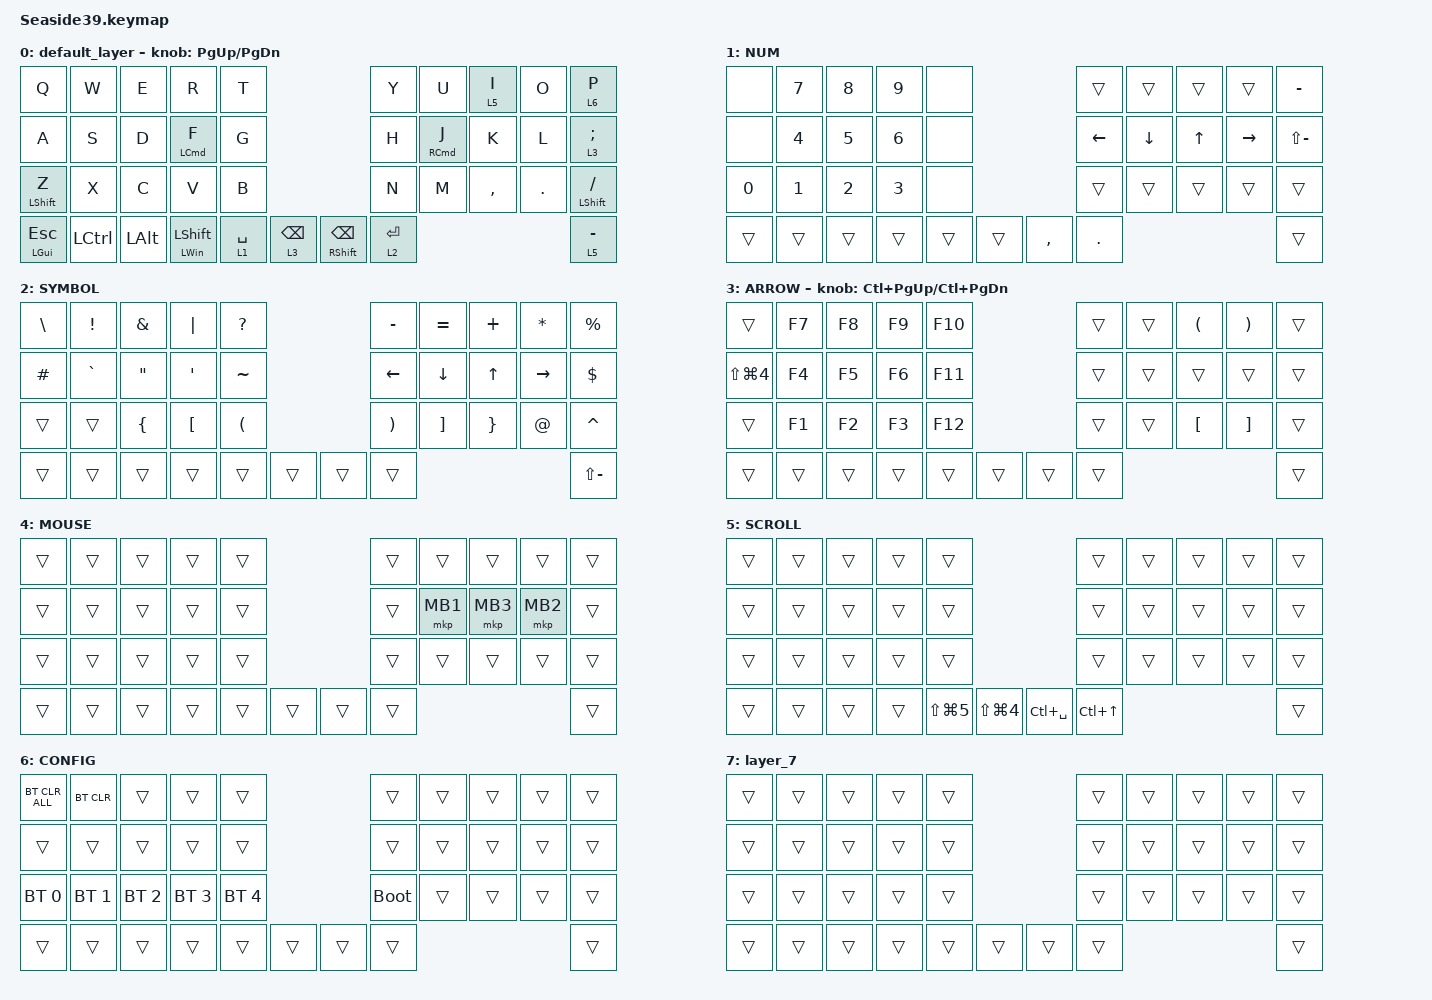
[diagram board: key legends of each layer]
#include <behaviors.dtsi>
#include <dt-bindings/zmk/bt.h>
#include <dt-bindings/zmk/keys.h>
#include <dt-bindings/zmk/pointing.h>

#define MOUSE 4
#define SCROLL 5
#define NUM 6

&mt {
    flavor = "balanced";
    quick-tap-ms = <300>;
};

&lt {
    flavor = "balanced";
    quick-tap-ms = <300>;
};

/ {
    combos {
        compatible = "zmk,combos";

        lang2 {
            bindings = <&kp LANG2>;
            key-positions = <13 14>;
            layers = <0>;
        };

        lang1 {
            bindings = <&kp LANG1>;
            key-positions = <15 16>;
            layers = <0>;
        };

        tab {
            bindings = <&kp TAB>;
            key-positions = <10 11>;
            layers = <0>;
        };
    };

    macros {
        to_layer_0: to_layer_0 {
            compatible = "zmk,behavior-macro-one-param";
            #binding-cells = <1>;
            bindings = <&to 0 &macro_param_1to1 &kp MACRO_PLACEHOLDER>;
            label = "TO_LAYER_0";
        };
    };

    behaviors {
        lt_to_layer_0: lt_to_layer_0 {
            compatible = "zmk,behavior-hold-tap";
            label = "LAYER_TAP_TO_0";
            bindings = <&mo>, <&to_layer_0>;

            #binding-cells = <2>;
            tapping-term-ms = <200>;
        };
    };

    keymap {
        compatible = "zmk,keymap";

        default_layer {
            bindings = <
&kp Q                &kp W      &kp E         &kp R                    &kp T                                                        &kp Y        &kp U       &lt 5 I    &kp O    &lt 6 P
&kp A                &kp S      &kp D         &mt LCMD F               &kp G                                                        &kp H        &mt RCMD J  &kp K      &kp L    &lt 3 SEMICOLON
&mt LEFT_SHIFT Z     &kp X      &kp C         &kp V                    &kp B                                                        &kp N        &kp M       &kp COMMA  &kp DOT  &mt LEFT_SHIFT SLASH
&mt LEFT_GUI ESCAPE  &kp LCTRL  &kp LEFT_ALT  &mt LEFT_WIN LEFT_SHIFT  &lt 1 SPACE  &lt 3 BACKSPACE      &mt RIGHT_SHIFT BACKSPACE  &lt 2 ENTER                                  &lt 5 MINUS
            >;

            sensor-bindings = <&inc_dec_kp PG_UP PAGE_DOWN>;
        };

        NUM {
            bindings = <
&none   &kp N7        &kp NUMBER_8  &kp NUMBER_9  &none                          &trans      &trans    &trans  &trans     &kp MINUS
&none   &kp NUMBER_4  &kp N5        &kp NUMBER_6  &none                          &kp LEFT    &kp DOWN  &kp UP  &kp RIGHT  &kp LS(MINUS)
&kp N0  &kp NUMBER_1  &kp NUMBER_2  &kp NUMBER_3  &none                          &trans      &trans    &trans  &trans     &trans
&trans  &trans        &trans        &trans        &trans  &trans      &kp COMMA  &kp PERIOD                               &trans
            >;
        };

        SYMBOL {
            bindings = <
&kp BACKSLASH  &kp EXCLAMATION  &kp AMPERSAND      &kp PIPE          &kp QUESTION                              &kp MINUS              &kp EQUAL          &kp PLUS         &kp ASTERISK  &kp PERCENT
&kp HASH       &kp GRAVE        &kp DOUBLE_QUOTES  &kp SQT           &kp TILDE                                 &kp LEFT               &kp DOWN           &kp UP           &kp RIGHT     &kp DOLLAR
&trans         &trans           &kp LEFT_BRACE     &kp LEFT_BRACKET  &kp LEFT_PARENTHESIS                      &kp RIGHT_PARENTHESIS  &kp RIGHT_BRACKET  &kp RIGHT_BRACE  &kp AT        &kp CARET
&trans         &trans           &trans             &trans            &trans                &trans      &trans  &trans                                                                   &kp LS(MINUS)
            >;
        };

        ARROW {
            bindings = <
&trans                &kp F7  &kp F8  &kp F9  &kp F10                      &trans  &trans  &kp LEFT_PARENTHESIS  &kp RIGHT_PARENTHESIS  &trans
&kp LS(LG(NUMBER_4))  &kp F4  &kp F5  &kp F6  &kp F11                      &trans  &trans  &trans                &trans                 &trans
&trans                &kp F1  &kp F2  &kp F3  &kp F12                      &trans  &trans  &kp LEFT_BRACKET      &kp RIGHT_BRACKET      &trans
&trans                &trans  &trans  &trans  &trans   &trans      &trans  &trans                                                       &trans
            >;

            sensor-bindings = <&inc_dec_kp LC(PAGE_UP) LC(PAGE_DOWN)>;
        };

        MOUSE {
            bindings = <
&trans  &trans  &trans  &trans  &trans                      &trans  &trans    &trans    &trans    &trans
&trans  &trans  &trans  &trans  &trans                      &trans  &mkp MB1  &mkp MB3  &mkp MB2  &trans
&trans  &trans  &trans  &trans  &trans                      &trans  &trans    &trans    &trans    &trans
&trans  &trans  &trans  &trans  &trans  &trans      &trans  &trans                                &trans
            >;
        };

        SCROLL {
            bindings = <
&trans  &trans  &trans  &trans  &trans                                             &trans            &trans  &trans  &trans  &trans
&trans  &trans  &trans  &trans  &trans                                             &trans            &trans  &trans  &trans  &trans
&trans  &trans  &trans  &trans  &trans                                             &trans            &trans  &trans  &trans  &trans
&trans  &trans  &trans  &trans  &kp LS(LG(N5))  &kp LS(LG(N4))      &kp LC(SPACE)  &kp LC(UP_ARROW)                          &trans
            >;
        };

        CONFIG {
            bindings = <
&bt BT_CLR_ALL  &bt BT_CLR    &trans        &trans        &trans                            &trans       &trans  &trans  &trans  &trans
&trans          &trans        &trans        &trans        &trans                            &trans       &trans  &trans  &trans  &trans
&bt BT_SEL 0    &bt BT_SEL 1  &bt BT_SEL 2  &bt BT_SEL 3  &bt BT_SEL 4                      &bootloader  &trans  &trans  &trans  &trans
&trans          &trans        &trans        &trans        &trans        &trans      &trans  &trans                               &trans
            >;
        };

        layer_7 {
            bindings = <
&trans  &trans  &trans  &trans  &trans                      &trans  &trans  &trans  &trans  &trans
&trans  &trans  &trans  &trans  &trans                      &trans  &trans  &trans  &trans  &trans
&trans  &trans  &trans  &trans  &trans                      &trans  &trans  &trans  &trans  &trans
&trans  &trans  &trans  &trans  &trans  &trans      &trans  &trans                          &trans
            >;
        };
    };
};
